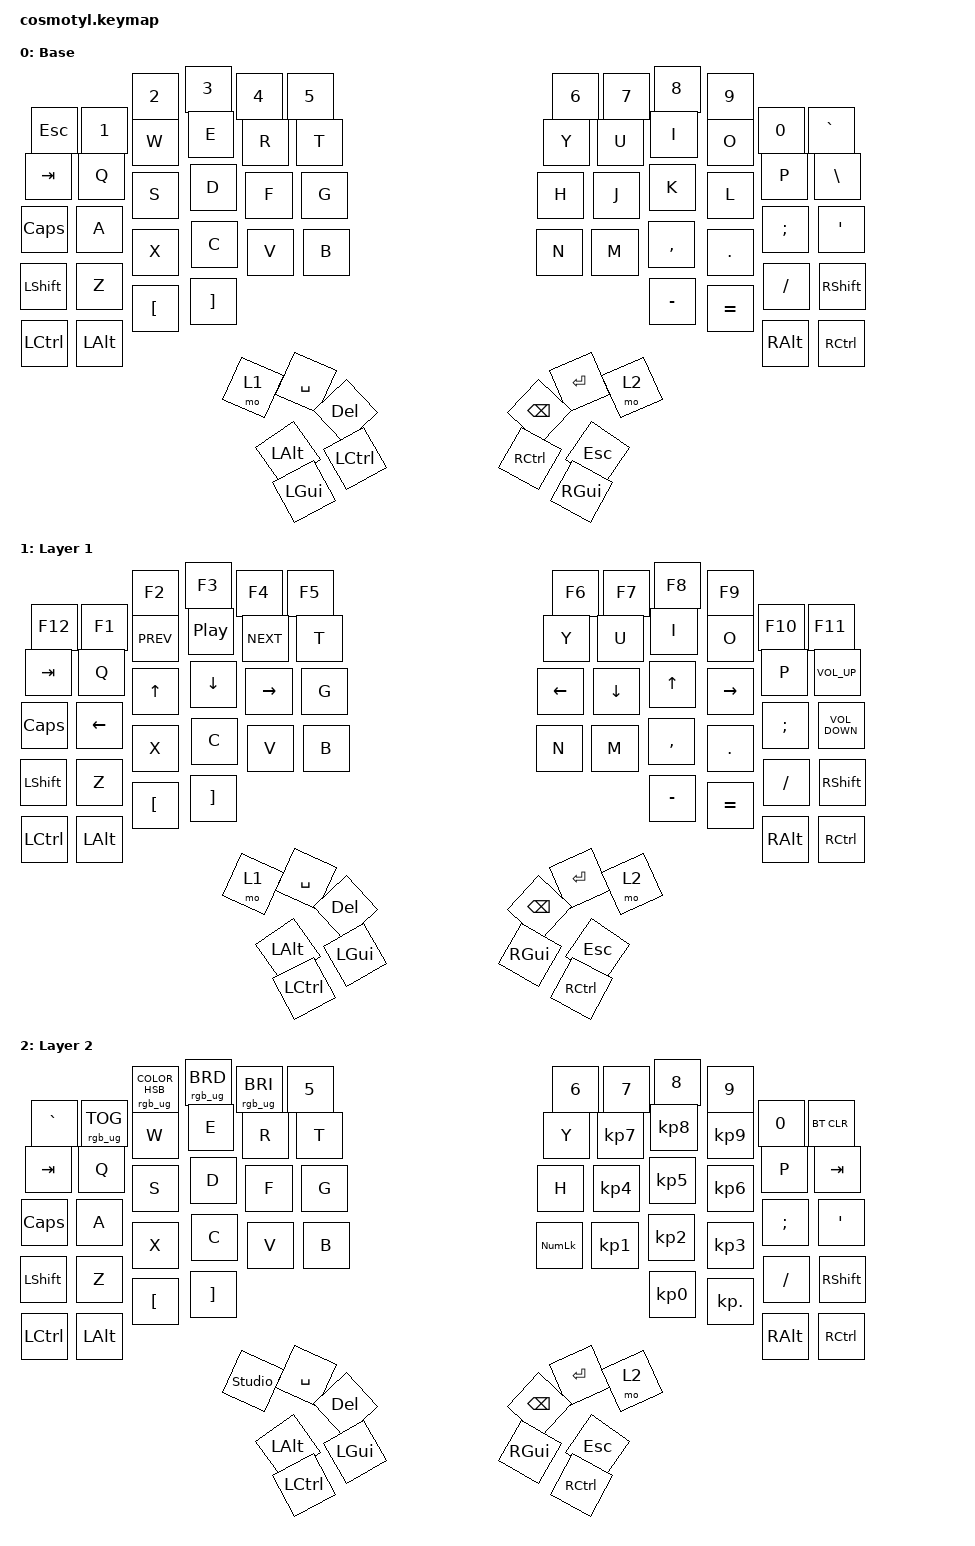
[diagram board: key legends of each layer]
#include <behaviors.dtsi>
#include <dt-bindings/zmk/keys.h>
#include <dt-bindings/zmk/rgb.h>
#include <dt-bindings/zmk/bt.h>
#include <behaviors/unicode.dtsi>
#include <zmk-helpers/helper.h>

#define QUICK_TAP_MS 175

#define BASE 0
#define NAV 1
#define NUM 2


#include "combos.dtsi"
#include "leader.dtsi"

/ {
    keymap {
        compatible = "zmk,keymap";
        default_layer {
            display-name = "Base";
            bindings = <&kp ESC &kp N1 &kp N2 &kp N3 &kp N4 &kp N5                                                                      &kp N6 &kp N7 &kp N8 &kp N9 &kp N0 &kp GRAVE
                        &kp TAB &kp Q &kp W &kp E &kp R &kp T                                                                           &kp Y &kp U &kp I &kp O &kp P &kp BSLH
                        &kp CAPS &kp A &kp S &kp D &kp F &kp G                                                                          &kp H &kp J &kp K &kp L &kp SEMI &kp SQT
                        &kp LSHFT &kp Z &kp X &kp C &kp V &kp B                                                                         &kp N &kp M &kp COMMA &kp DOT &kp FSLH &kp RSHFT
                        &kp LCTRL &kp LALT &kp LBKT &kp RBKT                                                                            &kp MINUS &kp EQUAL &kp RALT &kp RCTRL

                            &mo 1 &kp SPACE                                                                                                     &kp RETURN &mo 2
                            &kp LALT &kp DEL                                                                                                    &kp BACKSPACE &kp ESC
                            &kp LGUI &kp LCTRL                                                                                                  &kp RCTRL &kp RGUI>;
        };

        layer-1 {
            display-name = "Layer 1";
            bindings = <&kp F12 &kp F1 &kp F2 &kp F3 &kp F4 &kp F5                                                                      &kp F6 &kp F7 &kp F8 &kp F9 &kp F10 &kp F11
                        &kp TAB &kp Q &kp C_PREV &kp C_PLAY_PAUSE &kp C_NEXT &kp T                                                      &kp Y &kp U &kp I &kp O &kp P &kp C_VOLUME_UP
                        &kp CAPS &kp LEFT_ARROW &kp UP_ARROW &kp DOWN_ARROW &kp RIGHT_ARROW &kp G                                       &kp LEFT_ARROW &kp DOWN_ARROW &kp UP_ARROW &kp RIGHT_ARROW &kp SEMI &kp C_VOLUME_DOWN
                        &kp LSHFT &kp Z &kp X &kp C &kp V &kp B                                                                         &kp N &kp M &kp COMMA &kp DOT &kp FSLH &kp RSHFT
                        &kp LCTRL &kp LALT &kp LBKT &kp RBKT                                                                            &kp MINUS &kp EQUAL &kp RALT &kp RCTRL

                            &mo 1 &kp SPACE                                                                                                     &kp RETURN &mo 2
                            &kp LALT &kp DEL                                                                                                    &kp BACKSPACE &kp ESC
                            &kp LCTRL &kp LGUI                                                                                                  &kp RGUI &kp RCTRL>;
        };

        layer-2 {
            display-name = "Layer 2";
            bindings = <&kp GRAVE &rgb_ug RGB_TOG &rgb_ug RGB_COLOR_HSB(0, 0, 100) &rgb_ug RGB_BRD &rgb_ug RGB_BRI &kp N5               &kp N6 &kp N7 &kp N8 &kp N9 &kp N0 &bt BT_CLR
                        &kp TAB &kp Q &kp W &kp E &kp R &kp T                                                                           &kp Y &kp KP_N7 &kp KP_N8 &kp KP_N9 &kp P &kp TAB
                        &kp CAPS &kp A &kp S &kp D &kp F &kp G                                                                          &kp H &kp KP_N4 &kp KP_N5 &kp KP_N6 &kp SEMI &kp SQT
                        &kp LSHFT &kp Z &kp X &kp C &kp V &kp B                                                                         &kp KP_NUMLOCK &kp KP_N1 &kp KP_N2 &kp KP_N3 &kp FSLH &kp RSHFT
                        &kp LCTRL &kp LALT &kp LBKT &kp RBKT                                                                            &kp KP_N0 &kp KP_DOT &kp RALT &kp RCTRL

                            &studio_unlock &kp SPACE                                                                                            &kp RETURN &mo 2
                            &kp LALT &kp DEL                                                                                                    &kp BACKSPACE &kp ESC
                            &kp LCTRL &kp LGUI                                                                                                  &kp RGUI &kp RCTRL>;
        };
    };
};

